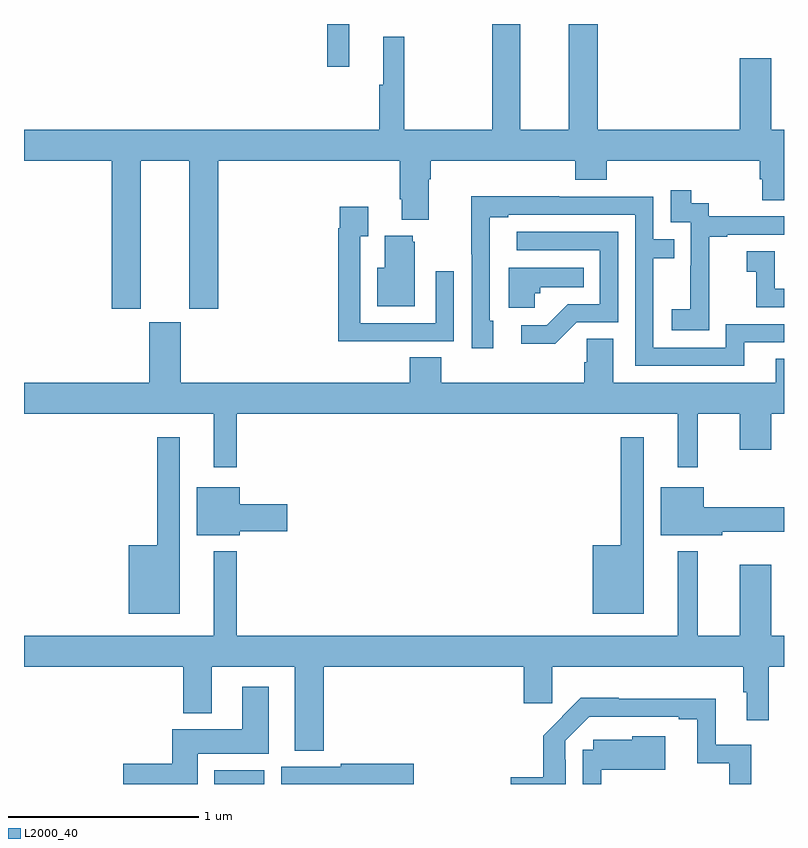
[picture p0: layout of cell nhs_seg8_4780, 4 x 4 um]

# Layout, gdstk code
import gdstk
lib = gdstk.Library(unit=1e-6, precision=1e-09)
def R(c, l, rs):  # rectangles x0, y0, x1, y1
    for r in rs: c.add(gdstk.rectangle(r[:2], r[2:], *l))
def P(c, l, *ps):  # polygons
    for p in ps: c.add(gdstk.Polygon(p, *l))
L2000_40 = (2000, 40)

nhs_seg8_4780 = lib.new_cell('nhs_seg8_4780')
R(nhs_seg8_4780, L2000_40, [(402.002,1099.9,402.265,1099.972), (402.595,1103.676,402.713,1103.9)])
P(nhs_seg8_4780, L2000_40, [(403,1103.833),(402.89,1103.833),(402.89,1103.58),(402.871,1103.58),(402.871,1103.344),(401,1103.344),(401,1103.18),(401.462,1103.18),(401.462,1102.401),(401.614,1102.401),(401.614,1103.18),(401.87,1103.18),(401.87,1102.401),(402.023,1102.401),(402.023,1103.18),(402.977,1103.18),(402.977,1102.978),(402.989,1102.978),(402.989,1102.871),(403.129,1102.871),(403.129,1103.084),(403.142,1103.084),(403.142,1103.18),(403.901,1103.18),(403.901,1103.081),(404.066,1103.081),(404.066,1103.18),(404.873,1103.18),(404.873,1103.082),(404.885,1103.082),(404.885,1102.972),(405,1102.972),(405,1103.344),(404.932,1103.344),(404.932,1103.719),(404.768,1103.719),(404.768,1103.344),(404.021,1103.344),(404.021,1103.9),(403.868,1103.9),(403.868,1103.344),(403.612,1103.344),(403.612,1103.9),(403.465,1103.9),(403.465,1103.344),(403,1103.344)],
  [(404.607,1102.495),(404.606,1102.495),(404.606,1102.779),(404.701,1102.779),(404.701,1102.791),(405,1102.791),(405,1102.887),(404.604,1102.887),(404.604,1102.956),(404.512,1102.956),(404.512,1103.026),(404.403,1103.026),(404.403,1102.857),(404.508,1102.857),(404.508,1102.628),(404.507,1102.628),(404.507,1102.399),(404.409,1102.399),(404.409,1102.289),(404.607,1102.289)],
  [(404.791,1102.224),(405,1102.224),(405,1102.32),(404.694,1102.32),(404.694,1102.197),(404.313,1102.197),(404.313,1102.666),(404.423,1102.666),(404.423,1102.767),(404.313,1102.767),(404.313,1102.992),(403.817,1102.992),(403.817,1102.994),(403.354,1102.994),(403.354,1102.687),(403.356,1102.687),(403.356,1102.194),(403.471,1102.194),(403.471,1102.338),(403.452,1102.338),(403.452,1102.884),(403.549,1102.884),(403.549,1102.896),(404.217,1102.896),(404.217,1102.101),(404.791,1102.101)],
  [(402.947,1102.23),(403.263,1102.23),(403.263,1102.6),(403.167,1102.6),(403.167,1102.326),(402.771,1102.326),(402.771,1102.783),(402.811,1102.783),(402.811,1102.939),(402.663,1102.939),(402.663,1102.826),(402.655,1102.826),(402.655,1102.229),(402.947,1102.229)],
  [(403.908,1102.329),(404.127,1102.329),(404.127,1102.806),(403.593,1102.806),(403.593,1102.71),(404.031,1102.71),(404.031,1102.425),(403.862,1102.425),(403.751,1102.314),(403.617,1102.314),(403.617,1102.217),(403.795,1102.217)],
  [(403.057,1102.755),(403.046,1102.755),(403.046,1102.786),(402.899,1102.786),(402.899,1102.618),(402.86,1102.618),(402.86,1102.415),(403.057,1102.415)],
  [(405,1102.506),(404.952,1102.506),(404.952,1102.705),(404.805,1102.705),(404.805,1102.595),(404.854,1102.595),(404.854,1102.41),(405,1102.41)],
  [(403.689,1102.482),(403.716,1102.482),(403.716,1102.514),(403.946,1102.514),(403.946,1102.618),(403.55,1102.618),(403.55,1102.406),(403.689,1102.406)],
  [(402.121,1101.848),(404.441,1101.848),(404.441,1101.567),(404.545,1101.567),(404.545,1101.848),(404.768,1101.848),(404.768,1101.66),(404.932,1101.66),(404.932,1101.848),(405,1101.848),(405,1102.139),(404.957,1102.139),(404.957,1102.012),(404.101,1102.012),(404.101,1102.244),(403.962,1102.244),(403.962,1102.121),(403.949,1102.121),(403.949,1102.012),(403.196,1102.012),(403.196,1102.145),(403.031,1102.145),(403.031,1102.012),(401.824,1102.012),(401.824,1102.329),(401.66,1102.329),(401.66,1102.012),(401,1102.012),(401,1101.848),(401.999,1101.848),(401.999,1101.567),(402.121,1101.567)],
  [(401.821,1101.724),(401.7,1101.724),(401.7,1101.157),(401.552,1101.157),(401.552,1100.795),(401.821,1100.795)],
  [(404.263,1101.724),(404.142,1101.724),(404.142,1101.157),(403.994,1101.157),(403.994,1100.795),(404.263,1100.795)],
  [(404.674,1101.227),(405,1101.227),(405,1101.357),(404.578,1101.357),(404.578,1101.463),(404.351,1101.463),(404.351,1101.209),(404.674,1101.209)],
  [(402.136,1101.23),(402.385,1101.23),(402.385,1101.372),(402.136,1101.372),(402.136,1101.463),(401.909,1101.463),(401.909,1101.209),(402.136,1101.209)],
  [(402.578,1100.516),(403.631,1100.516),(403.631,1100.325),(403.781,1100.325),(403.781,1100.516),(404.785,1100.516),(404.785,1100.384),(404.804,1100.384),(404.804,1100.235),(404.921,1100.235),(404.921,1100.516),(405,1100.516),(405,1100.68),(404.932,1100.68),(404.932,1101.055),(404.768,1101.055),(404.768,1100.68),(404.545,1100.68),(404.545,1101.124),(404.441,1101.124),(404.441,1100.68),(402.121,1100.68),(402.121,1101.124),(401.999,1101.124),(401.999,1100.68),(401,1100.68),(401,1100.516),(401.837,1100.516),(401.837,1100.273),(401.989,1100.273),(401.989,1100.516),(402.425,1100.516),(402.425,1100.075),(402.578,1100.075)],
  [(401.914,1100.06),(402.289,1100.06),(402.289,1100.413),(402.149,1100.413),(402.149,1100.188),(401.78,1100.188),(401.78,1100.006),(401.523,1100.006),(401.523,1099.9),(401.914,1099.9)],
  [(403.851,1100.027),(403.848,1100.027),(403.848,1100.127),(403.976,1100.255),(404.077,1100.255),(404.077,1100.253),(404.447,1100.253),(404.447,1100.241),(404.543,1100.241),(404.543,1100.01),(404.712,1100.01),(404.712,1099.9),(404.828,1099.9),(404.828,1100.106),(404.641,1100.106),(404.641,1100.35),(404.129,1100.35),(404.129,1100.353),(403.93,1100.353),(403.733,1100.155),(403.733,1099.936),(403.562,1099.936),(403.562,1099.9),(403.851,1099.9)],
  [(404.037,1099.976),(404.374,1099.976),(404.374,1100.152),(404.202,1100.152),(404.202,1100.134),(403.995,1100.134),(403.995,1100.079),(403.941,1100.079),(403.941,1099.9),(404.037,1099.9)],
  [(403.051,1100.006),(402.666,1100.006),(402.666,1099.99),(402.353,1099.99),(402.353,1099.9),(403.051,1099.9)])

lib.write_gds('nhs_seg8_4780.gds')
